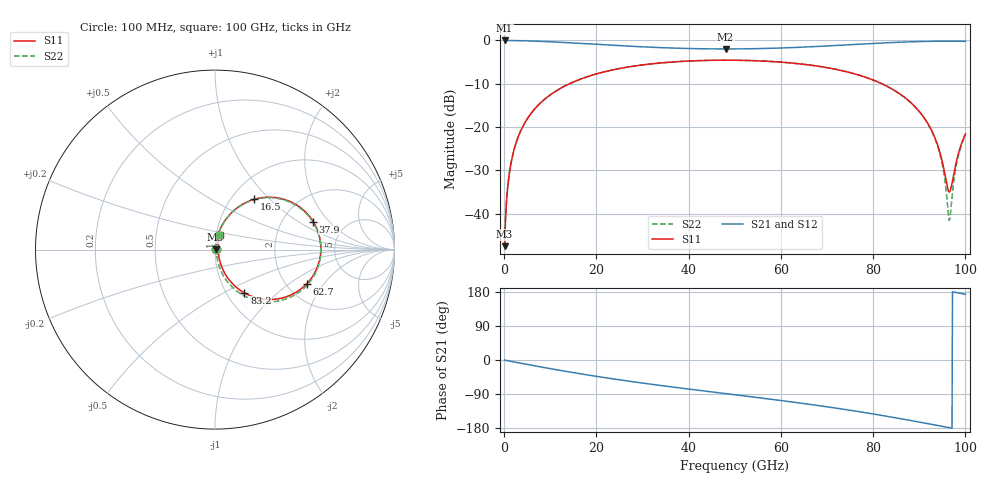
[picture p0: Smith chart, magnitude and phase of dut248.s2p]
! Touchstone file exported from HFSS 2026.1.0
!  File:  C:/ffzhzh/LocalFiles/Ansys_Project_Files/temp_train_RDL_248_1783501457_31944.aedt
!  Generated:  05:05:49 PM Jul  8, 2026
!  Design:  RDL
!  Project:  temp_train_RDL_248_1783501457_31944
! Variables:
!  h_bsmrdl = 2um
!  h_ox = 20um
!  h_rdl = 5um
!  h_sub = 80um
!  h_tmrdl = 4.36um
!  h_tsv = 80um
!  h_via = 3um
!  l_bsmrdl = 300um
!  l_sub = 1028.13um
!  l_tmrdl = 628.13um
!  m_sub = 200um
!  pitch = 43.58um
!  r_tsv = 6um
!  s_tmrdl = 10um
!  w_bsmrdl = 18um
!  w_sub = 500um
!  w_tmrdl = 16.5um
!  x_tsv_center1 = 636.38um
!  x_tsv_center2 = 954.38um
!  x_tsv_center3 = 1599.01um
!  x_tsv_center4 = 1917.01um
!  x_tsv_center5 = 2561.64um
!  x_tsv_center6 = 2879.64um
# GHz S MA R 50.000000
! Terminal data exported
! Port[1] = TM_RDL1_1_T1
! Port[2] = TM_RDL1_1_T2
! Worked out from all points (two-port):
!   1000 points, 100 MHz to 100 GHz, reference 50 ohm
!   highest |S21| = -0.03 dB at 100 MHz (marker M1); lowest = -2.0 dB at 48 GHz (marker M2)
!   |S21| within 3 dB of the highest: start of sweep to end of sweep
!   lowest |S11| = -47.5 dB at 100 MHz (marker M3), VSWR 1.01, Z = 50.3 + j0.273 ohm
!   |S11| at or under -10 dB: start of sweep to 14.2 GHz; 81.84 GHz to end of sweep
!   |S22| runs from -47.5 to -4.6 dB; largest |S21 - S12| = 1.8e-14
!   S11 on the Smith chart (normalised r, x): 100 MHz: 1.01, +0.01; 16.5 GHz: 1.27, +0.81; 37.9 GHz: 2.94, +1.36; 62.7 GHz: 2.54, -1.38; 83.2 GHz: 1.21, -0.64; 100 GHz: 1.04, +0.17
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0.1  0.004203 40.2  0.9968 -0.2  0.9968 -0.2  0.004203 40.2
! Gamma 0 0 0 0
! Port Impedance 50 0 50 0
0.9  0.02345 78.4  0.9959 -2.2  0.9959 -2.2  0.02345 78.4
1.5  0.03845 80.3  0.9951 -3.6  0.9951 -3.6  0.03845 80.2
4  0.1 77.3  0.9892 -9.4  0.9892 -9.4  0.1 77.2
8.9  0.2115 67.2  0.9682 -20.5  0.9682 -20.5  0.2115 66.9
16.5  0.356 52.0  0.9227 -36.4  0.9227 -36.4  0.356 51.6
16.8  0.3609 51.4  0.9208 -37.0  0.9208 -37.0  0.3609 51.0
33.4  0.545 22.8  0.8258 -66.4  0.8258 -66.4  0.5451 22.0
37.9  0.5688 16.0  0.81 -73.5  0.81 -73.5  0.5689 15.0
48  0.59 1.2  0.7952 -88.7  0.7952 -88.7  0.5901 -0.1
50.1  0.5891 -1.8  0.7958 -91.8  0.7958 -91.8  0.5893 -3.2
62.7  0.5447 -20.6  0.8257 -111.2  0.8257 -111.2  0.5448 -22.4
66.7  0.5148 -26.9  0.8437 -117.8  0.8437 -117.8  0.515 -28.9
83.2  0.2912 -55.9  0.9387 -149.0  0.9387 -149.0  0.2911 -59.2
83.4  0.2874 -56.2  0.9398 -149.4  0.9398 -149.4  0.2874 -59.6
88.9  0.1752 -65.7  0.9646 -161.3  0.9646 -161.3  0.1749 -70.4
92.6  0.09283 -68.6  0.9746 -169.7  0.9746 -169.7  0.09185 -76.2
94.7  0.04593 -61.6  0.9773 -174.4  0.9773 -174.4  0.04351 -75.1
96.5  0.01769 0.9  0.9777 -178.6  0.9777 -178.6  0.008309 -4.0
96.9  0.01991 28.1  0.9775 -179.5  0.9775 -179.5  0.0121 45.6
98.3  0.04543 64.7  0.9764 177.3  0.9764 177.3  0.04236 74.4
100  0.08311 71.6  0.9736 173.5  0.9736 173.5  0.08133 76.0
